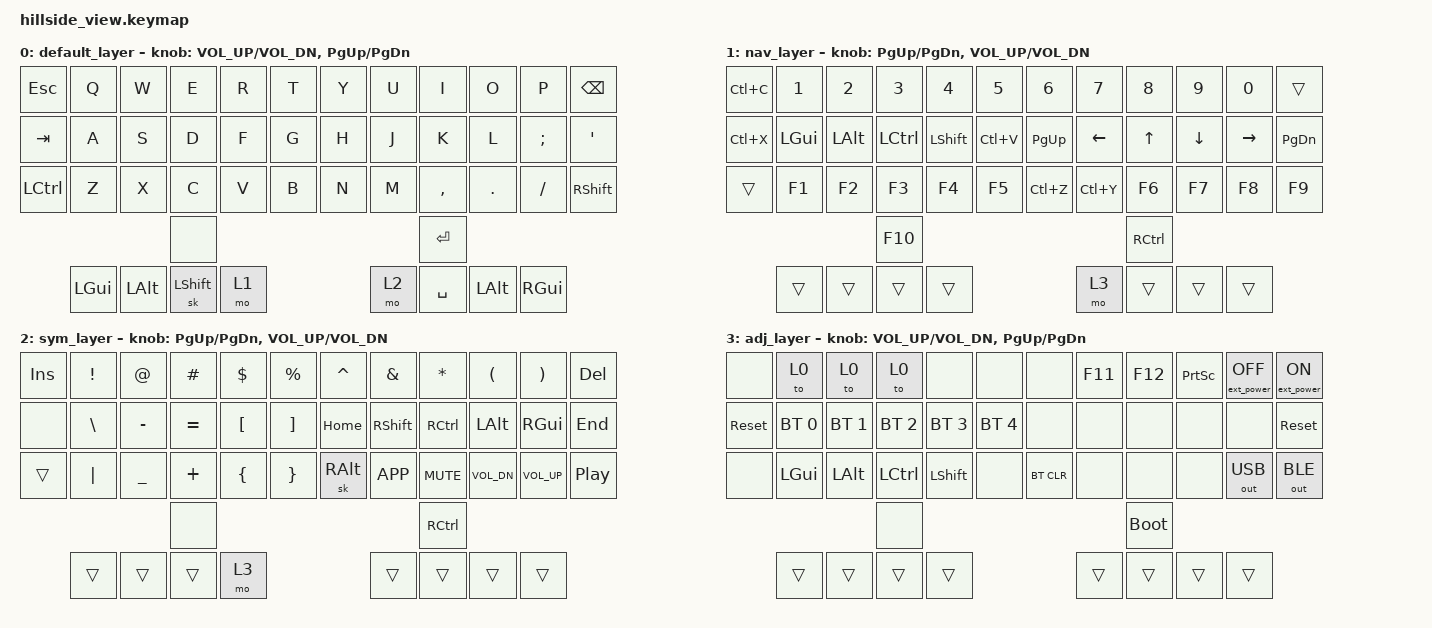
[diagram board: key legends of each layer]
/*
 * Copyright (c) 2021-2022 The ZMK Contributors
 *
 * SPDX-License-Identifier: MIT
 */

#include <behaviors/mouse_keys.dtsi>
#include <behaviors.dtsi>
#include <dt-bindings/zmk/bt.h>
#include <dt-bindings/zmk/ext_power.h>
#include <dt-bindings/zmk/keys.h>
#include <dt-bindings/zmk/outputs.h>

#define QWERTY_L 0
#define DVORAK_L 1
#define COLEMK_L 2
#define NAV_L    3
#define SYM_L    4
#define ADJ_L    5
#define Undo   LC(Z)
#define Cut    LC(X)
#define Copy   LC(C)
#define Paste  LC(V)
#define Redo   LC(Y)

#define MO_TO(layer) &mo_to layer layer   // Macro to apply momentary-layer-on-hold/to-layer-on-tap to a specific layer

/ {
    /* assign `input-listener` to all pointing devices */
    /* &glidepoint0 on central, &glidepoint1 on peripheral */

    tpad_central_listener {
        compatible = "zmk,input-behavior-listener";
        device = <&glidepoint0>;
        y-invert;
        scale-multiplier = <2>;
        

 

        // xy-swap;
        // x-invert;
    };

    tpad_peripheral_listener {
        compatible = "zmk,input-behavior-listener";
        device = <&glidepoint1>;
        layers = <QWERTY_L>;
        y-invert;
        scale-multiplier = <2>;

        /* NOTE: do NOT override event code here, */
        /*       let Cirque glidepoint reports click from taps */
        // evt-type = <INPUT_EV_REL>;
        // x-input-code = <INPUT_REL_X>;
        // y-input-code = <INPUT_REL_Y>;
    };

    tpad_peripheral_scroll {
        compatible = "zmk,input-behavior-listener";
        device = <&glidepoint1>;
        layers = <QWERTY_L>;

        /* NOTE: only apply input-code overriding for INPUT_EV_REL */

        evt-type = <INPUT_EV_REL>;
        x-input-code = <INPUT_REL_HWHEEL>;
        y-input-code = <INPUT_REL_WHEEL>;
        bindings = <&ib_wheel_scaler 1 8>;
    };

    ib_wheel_scaler: ib_wheel_scaler {
        compatible = "zmk,input-behavior-scaler";
        #binding-cells = <2>;
        evt-type = <INPUT_EV_REL>;
        input-code = <INPUT_REL_WHEEL>;
    };
};

&mt {
    flavor = "tap-preferred";
    tapping-term-ms = <300>;
    quick-tap-ms = <125>;
};

/ {
    behaviors {
        // momentary on hold, toggle on tap

        mo_to: behavior_mo_to {
            compatible = "zmk,behavior-hold-tap";
            label = "mo_to";
            #binding-cells = <2>;
            flavor = "hold-preferred";
            tapping-term-ms = <200>;
            bindings = <&mo>, <&to>;
        };

        // prevent multiple uppercase letters on sticky shift https://github.com/zmkfirmware/zmk/issues/903

        skq: sticky_key_quick_release {
            compatible = "zmk,behavior-sticky-key";
            label = "STICKY_KEY_QUICK_RELEASE";
            #binding-cells = <1>;
            bindings = <&kp>;
            release-after-ms = <1000>;
            quick-release;
        };

        // tap: sticky-shift | lshft + tap: caps-word | hold: shift
        // from https://github.com/urob/zmk-config/blob/main/config/base.keymap 

        ss_cw: ss_cw {
            compatible = "zmk,behavior-mod-morph";
            #binding-cells = <0>;
            label = "ss_cw";
            bindings = <&skq LSHFT>, <&caps_word>;

            mods = <(MOD_LSFT)>;
        };

        ht: hold_tap {
            compatible = "zmk,behavior-hold-tap";
            label = "HOLD_TAP";
            #binding-cells = <2>;
            tapping-term-ms = <200>;
            quick-tap-ms = <150>;
            flavor = "tap-preferred";
            bindings = <&kp>, <&kp>;
        };

        // tap: sticky layer 1 | double tap: toggle layer 1
        //cl_num: cl_num {
        //    compatible = "zmk,behavior-tap-dance";
        //    label = "TD_LAYER_NUM";
        //    #binding-cells = <0>;
        //    tapping-term-ms = <200>;
        // bindings = <&sl NUM>, <&to NUM>;
        //    bindings = <&mo NUM>, <&to NUM>;
        //};
        // tap: sticky layer 2 | double tap: toggle layer 2
        //cl_sym: cl_sym {
        //    compatible = "zmk,behavior-tap-dance";
        //    label = "TD_LAYER_SYM";
        //    #binding-cells = <0>;
        //    tapping-term-ms = <200>;
        //    bindings = <&sl SYM>, <&to SYM>;
        //};
        // tap: sticky layer 3 | double tap: toggle layer 3
        //cl_nav: cl_nav {
        //    compatible = "zmk,behavior-tap-dance";
        //    label = "TD_LAYER_NAV";
        //    #binding-cells = <0>;
        //    tapping-term-ms = <200>;
        //    bindings = <&sl NAV>, <&to NAV>;
        //};
    };

    // Key numbers
    // -----------------------------------------------------------------------------------------
    // | NONE |  1  |  2  |  3  |  4  |  5  |   |  6  |  7   |  8  |  9  |  10  | NONE |
    // | NONE |  13 |  14 |  15 |  16 |  17 |   |  18 |  19  |  20 |  21 |  22  | NONE |
    // | NONE |  25 |  26 |  27 |  28 |  29 |   |  30 |  31  |  32 |  33 |  34  | NONE |
    //                                |  36 |   |  37 |
    //              |  38 |  39 |  40 |  41 |   |  42 |  43 |  44  |  45 |
    // Homerow bindings

    combos {
        compatible = "zmk,combos";

        combo_esc {
            key-positions = <27 28>;
            bindings = <&kp ESC>;
            timeout-ms = <30>;
        };

        combo_ret {
            key-positions = <32 33>;
            bindings = <&kp RET>;
            timeout-ms = <30>;
        };

        combo_tab {
            key-positions = <26 27>;
            bindings = <&kp TAB>;
            timeout-ms = <30>;
        };

        cb_slash {
            bindings = <&kp SLASH>;
            key-positions = <31 32>;
            timeout-ms = <30>;
        };

        left_command {
            bindings = <&kp LGUI>;
            key-positions = <15 16>;
            timeout-ms = <30>;
        };

        left_alt {
            bindings = <&kp LEFT_ALT>;
            key-positions = <16 14>;
            timeout-ms = <30>;
        };

        left_alt_cmd {
            bindings = <&kp LG(LEFT_ALT)>;
            key-positions = <16 15 14>;
            timeout-ms = <30>;
        };

        right_command {
            bindings = <&kp RGUI>;
            key-positions = <19 20>;
            timeout-ms = <30>;
        };

        right_alt {
            bindings = <&kp RIGHT_ALT>;
            key-positions = <19 21>;
            timeout-ms = <30>;
        };

        right_alt_cmd {
            bindings = <&kp RG(RIGHT_ALT)>;
            key-positions = <19 20 21>;
            timeout-ms = <30>;
        };
    };
};

/ {
    keymap {
        compatible = "zmk,keymap";

        default_layer {
            /* QWERTY
 * -------------------------------------------------------------------------------------------------------------------------------------
 * | `     |   Q   |   W   |   E   |   R   |   T   |-----------------------------------|   Y   |   U   |   I   |   O   |   P   | BKSPC |
 * | TAB   |   A   |   S   |   D   |   F   |   G   |-----------------------------------|   H   |   J   |   K   |   L   |   ;   | ENTER |
 * | CTRL  |   Z   |   X   |   C   |   V   |   B   |  ESC  |-------------------|  CAPS |   N   |   M   |   ,   |   .   |   /   |   '   |
 *                                 |  GUI  |  ALT  |SK SHFT|  Nav  |---|  Sym  | SPACE |  ALT  |  GUI  |
 */

            bindings = <
&kp ESC    &kp Q     &kp W     &kp E       &kp R  &kp T      &kp Y  &kp U  &kp I      &kp O     &kp P      &kp BSPC
&kp TAB    &kp A     &kp S     &kp D       &kp F  &kp G      &kp H  &kp J  &kp K      &kp L     &kp SEMI   &kp APOSTROPHE
&kp LCTRL  &kp Z     &kp X     &kp C       &kp V  &kp B      &kp N  &kp M  &kp COMMA  &kp DOT   &kp SLASH  &kp RIGHT_SHIFT
                               &none                                       &kp ENTER
           &kp LGUI  &kp LALT  &sk LSHIFT  &mo 1                    &mo 2  &kp SPACE  &kp LALT  &kp RGUI
            >;

            sensor-bindings = <&inc_dec_kp C_VOL_UP C_VOL_DN &inc_dec_kp PG_UP PG_DN>;
        };

        nav_layer {
            /* NAV   
 * -------------------------------------------------------------------------------------------------------------------------------------
 * | Copy  |   1   |   2   |   3   |   4   |   5   |-----------------------------------|   6   |   7   |   8   |   9   |   0   | BSPC  |
 * | Cut   |  GUI  |  Alt  | Ctrl  | Shift | Paste |-----------------------------------| PG UP |  Left |  Up   |  Down | Right | PG DN |
 * | Ctrl  |  F1   |  F2   |  F3   |  F4   |  F5   |  UnDo |-------------------| ReDo  |  F6   |  F7   |  F8   |  F9   |  F10  | Ctrl  |
 *                                 |       |       |       |       |---| ADJ_L |       |       |       |
 */

            bindings = <
&kp Copy  &kp N1    &kp N2    &kp N3     &kp N4     &kp N5         &kp N6     &kp N7    &kp N8     &kp N9    &kp N0     &trans
&kp Cut   &kp LGUI  &kp LALT  &kp LCTRL  &kp LSHFT  &kp Paste      &kp PG_UP  &kp LEFT  &kp UP     &kp DOWN  &kp RIGHT  &kp PG_DN
&trans    &kp F1    &kp F2    &kp F3     &kp F4     &kp F5         &kp Undo   &kp Redo  &kp F6     &kp F7    &kp F8     &kp F9
                              &kp F10                                                   &kp RCTRL
          &trans    &trans    &trans     &trans                               &mo 3     &trans     &trans    &trans
            >;

            sensor-bindings = <&inc_dec_kp PG_UP PG_DN &inc_dec_kp C_VOL_UP C_VOL_DN>;
        };

        sym_layer {
            /* SYM
 * -------------------------------------------------------------------------------------------------------------------------------------
 * | INS   |   !   |   @   |   #   |   $   |   %   |-----------------------------------|   ^   |   &   |   *   |   (   |   )   | BSPC  |
 * |       |   \   |   -   |   =   |   [   |   ]   |-----------------------------------| HOME  | Shift | Ctrl  | Alt   | Gui   | END   |
 * | Ctrl  |   |   |   _   |   +   |   {   |   }   |SkAltGr|-------------------| MENU  | Mute  | Vol-  | Vol+  | Play  |       | Ctrl  |
 *                                 |       |       |       |  ADJ_L |---|      |       |       |       |
 */

            bindings = <
&kp INS  &kp EXCL  &kp AT     &kp HASH   &kp DOLLAR  &kp PERCENT      &kp CARET  &kp AMPS   &kp ASTRK   &kp LPAR      &kp RPAR      &kp DEL
&none    &kp BSLH  &kp MINUS  &kp EQUAL  &kp LBKT    &kp RBKT         &kp HOME   &kp RSHFT  &kp RCTRL   &kp LALT      &kp RGUI      &kp END
&trans   &kp PIPE  &kp UNDER  &kp PLUS   &kp LBRC    &kp RBRC         &sk RALT   &kp K_APP  &kp C_MUTE  &kp C_VOL_DN  &kp C_VOL_UP  &kp C_PP
                              &none                                                         &kp RCTRL
         &trans    &trans     &trans     &mo 3                                   &trans     &trans      &trans        &trans
            >;

            sensor-bindings = <&inc_dec_kp PG_UP PG_DN &inc_dec_kp C_VOL_UP C_VOL_DN>;
        };

        adj_layer {
            /* ADJUST
 * -------------------------------------------------------------------------------------------------------------------------------------
 * |       | QWERTY| DVORAK| COLEMK|       |       |-----------------------------------|       |  F11  |  F12  |Prt Scr|EP_OFF | EP_ON |
 * | RESET | BT 0  | BT 1  | BT 2  | BT 3  | BT 4  |-----------------------------------|       |       |       |       |       | RESET |
 * |       | LGUI  | LALT  | LCTRL | LSHIFT|       |BT CLR |-------------------|       |       |       |OUT_USB|OUT_BLE|       | BOOTL |
 *                                 |       |       |       |       |---|       |       |       |       |
 */

            bindings = <
&none       &to 0         &to 0         &to 0         &none         &none             &none       &kp F11  &kp F12      &kp PRINTSCREEN  &ext_power EP_OFF  &ext_power EP_ON
&sys_reset  &bt BT_SEL 0  &bt BT_SEL 1  &bt BT_SEL 2  &bt BT_SEL 3  &bt BT_SEL 4      &none       &none    &none        &none            &none              &sys_reset
&none       &kp LGUI      &kp LALT      &kp LCTRL     &kp LSHIFT    &none             &bt BT_CLR  &none    &none        &none            &out OUT_USB       &out OUT_BLE
                                        &none                                                              &bootloader
            &trans        &trans        &trans        &trans                                      &trans   &trans       &trans           &trans
            >;

            sensor-bindings = <&inc_dec_kp C_VOL_UP C_VOL_DN &inc_dec_kp PG_UP PG_DN>;
        };
    };
};
